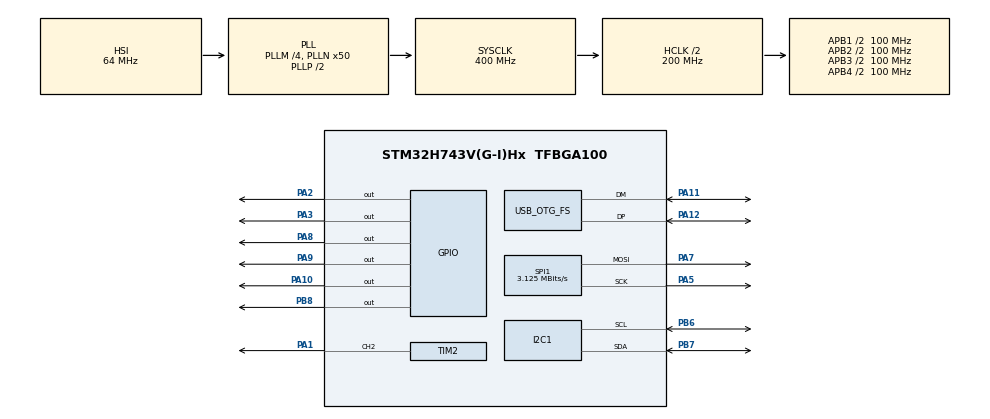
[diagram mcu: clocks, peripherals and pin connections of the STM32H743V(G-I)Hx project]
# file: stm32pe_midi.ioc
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CORTEX_M7.default_mode_Activation=1
I2C1.Timing=0x10C0ECFF
Mcu.Family=STM32H7
Mcu.Name=STM32H743V(G-I)Hx
Mcu.Package=TFBGA100
NVIC.OTG_FS_IRQn=true\:0\:0\:false\:false\:true\:true\:true\:true
NVIC.PriorityGroup=NVIC_PRIORITYGROUP_4
PA1.Signal=S_TIM2_CH2
PA10.Signal=GPIO_Output
PA11.Mode=Device_Only
PA11.Signal=USB_OTG_FS_DM
PA12.Mode=Device_Only
PA12.Signal=USB_OTG_FS_DP
PA2.Signal=GPIO_Output
PA3.Signal=GPIO_Output
PA5.Mode=TX_Only_Simplex_Unidirect_Master
PA5.Signal=SPI1_SCK
PA7.Mode=TX_Only_Simplex_Unidirect_Master
PA7.Signal=SPI1_MOSI
PA8.Signal=GPIO_Output
PA9.Signal=GPIO_Output
PB6.Mode=I2C
PB6.Signal=I2C1_SCL
PB7.Mode=I2C
PB7.Signal=I2C1_SDA
PB8.Signal=GPIO_Output
ProjectManager.HeapSize=0x200
ProjectManager.StackSize=0x400
ProjectManager.TargetToolchain=STM32CubeIDE
RCC.ADCFreq_Value=129000000
RCC.APB1Freq_Value=100000000
RCC.APB2Freq_Value=100000000
RCC.APB3Freq_Value=100000000
RCC.APB4Freq_Value=100000000
RCC.CortexFreq_Value=400000000
RCC.D1PPRE=RCC_APB3_DIV2
RCC.D2PPRE1=RCC_APB1_DIV2
RCC.D2PPRE2=RCC_APB2_DIV2
RCC.D3PPRE=RCC_APB4_DIV2
RCC.DIVM1=4
RCC.DIVN1=50
RCC.DIVQ1=4
RCC.HCLKFreq_Value=200000000
RCC.HPRE=RCC_HCLK_DIV2
RCC.PLL2FRACN=0
RCC.PLL3FRACN=0
RCC.PLLFRACN=0
RCC.SYSCLKFreq_VALUE=400000000
RCC.SYSCLKSource=RCC_SYSCLKSOURCE_PLLCLK
RCC.USBCLockSelection=RCC_USBCLKSOURCE_HSI48
RCC.USBFreq_Value=48000000
SH.S_TIM2_CH2.0=TIM2_CH2,PWM Generation2 CH2
SPI1.BaudRatePrescaler=SPI_BAUDRATEPRESCALER_64
SPI1.CalculateBaudRate=3.125 MBits/s
SPI1.DataSize=SPI_DATASIZE_8BIT
SPI1.Direction=SPI_DIRECTION_2LINES_TXONLY
SPI1.Mode=SPI_MODE_MASTER
SPI1.VirtualType=VM_MASTER
TIM2.Channel-PWM\ Generation2\ CH2=TIM_CHANNEL_2
TIM2.Period=31
TIM2.Pulse-PWM\ Generation2\ CH2=16
USB_OTG_FS.VirtualMode=Device_Only
VP_MEMORYMAP_VS_MEMORYMAP.Mode=CurAppReg
board=custom

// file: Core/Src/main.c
/* USER CODE BEGIN Header */
/**
 ******************************************************************************
 * @file           : main.c
 * @brief          : Main program body
 ******************************************************************************
 * @attention
 *
 * Copyright (c) 2025 STMicroelectronics.
 * All rights reserved.
 *
 * This software is licensed under terms that can be found in the LICENSE file
 * in the root directory of this software component.
 * If no LICENSE file comes with this software, it is provided AS-IS.
 *
 ******************************************************************************
 */
/* USER CODE END Header */
#include "main.h"

/* USER CODE BEGIN Includes */

//#include "usbd_def.h"
//#include "usbd_cdc_if.h"

#include <stdlib.h>
#include <stdbool.h>
#include <string.h>

#include "tlc5940.h"
#include "i2c-mux.h"
#include "TMAG5273.h"

#include "tusb.h"

#include "helper.h"
#include "mpe.h"

#define DEBUG4_LED_GPIO_Port GPIOA
#define DEBUG4_LED_Pin GPIO_PIN_8

#define DEBUG2_LED_GPIO_Port GPIOA
#define DEBUG2_LED_Pin GPIO_PIN_9

#define DEBUG3_LED_GPIO_Port GPIOA
#define DEBUG3_LED_Pin GPIO_PIN_10

// ==========================================================================================
// the config is below (not really recommended to edit these below unless if yk what you are doing)
// ==========================================================================================

//midi
int start_octave = 4; //midi code shift
int mt_send_black = 40; //midi on threshold
int mt_send_white = 30; //midi on threshold

//mpe
int16_t pitch_mpe_st = 682; //mpe semitone pitch range (682 = 4st, 341 = 2st)
float angle_mpe_padding = 15; //mpe pitch
float angle_mpe_realistic_max = 25; //mpe pitch

float aftertouch_mpe_white_padding = 9; //mpe aftertouch
float aftertouch_mpe_black_padding = 15; //mpe aftertouch

//octave
uint32_t octave_change_mode_time_threshold = 200; //diff change between mode/octive
uint32_t octave_led_flash = 500; //ms between led flash during mode

//led
int startup_cutoff_wait = 100; //led cutoff + cutoff for initial sensor readings saving

//mode
uint32_t octave_mode_hold_down = 1500; //octave mode keys milliseconds to hold down & change
uint32_t mpe_mode_hold_down = 3000; //~ same above but for mpe mode keys

//debug
bool disable_comport = false; //silences comport to possibly make processing faster?

// ==========================================================================================
// the config is above
// ==========================================================================================

//all data below is in order of b, c, c#, d, d#, e, etc..
//uint16_t light_key_arr[25];

bool key_activated[25]; //midi on/off
uint8_t key_note_active[25]; //midi on/off safety

float key_raw_initial[25]; //midi velocity
float key_raw_angle_initial[25]; //mpe pitch

float key_tick_start[25]; //midi velocity

float key_low_cutoff[25]; //leds

float key_off_cutoff[25]; //midi off

uint8_t midi_key_arr[25]; //midi codes

TMAG5273_Handle_t tmag_handles[25]; //tmag obj handles

uint8_t tmag_addr_arr[25] = { 0x10, 0x11, 0x12, 0x13, 0x14, 0x15, 0x16,
		0x17, 0x18, 0x19, 0x1A, 0x1B, 0x1C, 0x1D, 0x1E, 0x1F, 0x20, 0x21, 0x22,
		0x23,
		0x24, 0x25, 0x26, 0x27, 0x28 }; //tmag addresses

bool is_black_key[25] = { false, false, true, false, true, false, false, true,
		false, true, false, true, false, false, true, false, true, false, false,
		true, false, true, false, true, false };

uint32_t octave_held_time = -1; //octave mode change
uint32_t octave_mode_time_elapsed = 0; //octave led
uint32_t octave_mode_time2_elapsed = -1; //mode change safety

bool octave_change_mode = false; //mode on/off
bool prevent_rapid_fire = false; //can change octave

bool mpe_midi_mode = true; //mpe mode change
uint32_t mpe_held_time = -1; //time saving

/* USER CODE END Includes */

I2C_HandleTypeDef hi2c1;

SPI_HandleTypeDef hspi1;

TIM_HandleTypeDef htim2;

PCD_HandleTypeDef hpcd_USB_OTG_FS;

/* USER CODE BEGIN PV */

//TODO remove?

/* USER CODE END PV */

void SystemClock_Config(void);
static void MPU_Config(void);
static void MX_GPIO_Init(void);
static void MX_TIM2_Init(void);
static void MX_SPI1_Init(void);
static void MX_I2C1_Init(void);
static void MX_USB_OTG_FS_PCD_Init(void);

/* USER CODE BEGIN 0 */

i2c_mux_t tca_mux = { .hi2c = &hi2c1,     // Using I2C1 on PB6 (SCL) / PB7 (SDA)
		.rst_port = GPIOB,          // Reset pin is PB7
		.rst_pin = GPIO_PIN_8,      // Use correct GPIO pin number
		.addr_offset = 0            // 0 if all A0/A1/A2 pins are GND
		};

int _write(int file, char *ptr, int len) {
	(void) file;

	if (disable_comport) {
		return 0;
	}

	if (!tud_cdc_connected()) {
		return 0;
	}

	int remaining = len;
	uint32_t start = HAL_GetTick();
	while (remaining > 0) {
		uint32_t n = tud_cdc_write(ptr, remaining);
		tud_cdc_write_flush(); // send data to host
		ptr += n;
		remaining -= n;

		// Allow TinyUSB to process USB events
		tud_task();

		// Timeout after 100ms to avoid deadlock
		if ((HAL_GetTick() - start) > 100) {
			break;
		}
	}

	return len;
}

/* USER CODE END 0 */

int main(void)
{

  /* MPU Configuration--------------------------------------------------------*/
  MPU_Config();

  /* MCU Configuration--------------------------------------------------------*/

  /* Reset of all peripherals, Initializes the Flash interface and the Systick. */
  HAL_Init();

  /* Configure the system clock */
  SystemClock_Config();

  /* Initialize all configured peripherals */
  MX_GPIO_Init();
  MX_TIM2_Init();
  MX_SPI1_Init();
  MX_I2C1_Init();
  MX_USB_OTG_FS_PCD_Init();
  /* USER CODE BEGIN 2 */

	// start the timer for the led mux
	HAL_TIM_PWM_Start(&htim2, TIM_CHANNEL_2);

	// set mp-reset on the i2c mux to be high as it is active-low reset input
	HAL_GPIO_WritePin(GPIOB, GPIO_PIN_8, GPIO_PIN_SET);

	// disable all i2c channels for a clean slate bruh
	if (i2c_mux_reset(&tca_mux) != 0) {
		// Handle error, e.g., blink LED or halt
		HAL_GPIO_WritePin(DEBUG2_LED_GPIO_Port, DEBUG2_LED_Pin, GPIO_PIN_SET);
	}

	//on each channel, there are four i2c sensors connected with unique addresses in that channel only
	//the address has to be rewritten for all the sensors to then combine all channels pull data easier

	//sc0
	i2c_mux_select(&tca_mux, 0);

	tmag_handles[0] = TMAG5273_CreateHandle(&hi2c1, 0x35);
	TMAG5273_Init(&tmag_handles[0]);
	TMAG5273_RewriteI2CAddress(&tmag_handles[0], tmag_addr_arr[0]);

	tmag_handles[1] = TMAG5273_CreateHandle(&hi2c1, 0x22);
	TMAG5273_Init(&tmag_handles[1]);
	TMAG5273_RewriteI2CAddress(&tmag_handles[1], tmag_addr_arr[1]);

	tmag_handles[3] = TMAG5273_CreateHandle(&hi2c1, 0x78);
	TMAG5273_Init(&tmag_handles[3]);
	TMAG5273_RewriteI2CAddress(&tmag_handles[3], tmag_addr_arr[3]);

	tmag_handles[5] = TMAG5273_CreateHandle(&hi2c1, 0x44);
	TMAG5273_Init(&tmag_handles[5]);
	TMAG5273_RewriteI2CAddress(&tmag_handles[5], tmag_addr_arr[5]);

	//sc1
	i2c_mux_select(&tca_mux, 1);

	tmag_handles[6] = TMAG5273_CreateHandle(&hi2c1, 0x35);
	TMAG5273_Init(&tmag_handles[6]);
	TMAG5273_RewriteI2CAddress(&tmag_handles[6], tmag_addr_arr[6]);

	tmag_handles[8] = TMAG5273_CreateHandle(&hi2c1, 0x22);
	TMAG5273_Init(&tmag_handles[8]);
	TMAG5273_RewriteI2CAddress(&tmag_handles[8], tmag_addr_arr[8]);

	tmag_handles[10] = TMAG5273_CreateHandle(&hi2c1, 0x78);
	TMAG5273_Init(&tmag_handles[10]);
	TMAG5273_RewriteI2CAddress(&tmag_handles[10], tmag_addr_arr[10]);

	tmag_handles[12] = TMAG5273_CreateHandle(&hi2c1, 0x44);
	TMAG5273_Init(&tmag_handles[12]);
	TMAG5273_RewriteI2CAddress(&tmag_handles[12], tmag_addr_arr[12]);

	//sc2
	i2c_mux_select(&tca_mux, 2);

	tmag_handles[13] = TMAG5273_CreateHandle(&hi2c1, 0x35);
	TMAG5273_Init(&tmag_handles[13]);
	TMAG5273_RewriteI2CAddress(&tmag_handles[13], tmag_addr_arr[13]);

	tmag_handles[15] = TMAG5273_CreateHandle(&hi2c1, 0x22);
	TMAG5273_Init(&tmag_handles[15]);
	TMAG5273_RewriteI2CAddress(&tmag_handles[15], tmag_addr_arr[15]);

	tmag_handles[17] = TMAG5273_CreateHandle(&hi2c1, 0x78);
	TMAG5273_Init(&tmag_handles[17]);
	TMAG5273_RewriteI2CAddress(&tmag_handles[17], tmag_addr_arr[17]);

	tmag_handles[18] = TMAG5273_CreateHandle(&hi2c1, 0x44);
	TMAG5273_Init(&tmag_handles[18]);
	TMAG5273_RewriteI2CAddress(&tmag_handles[18], tmag_addr_arr[18]);

	//sc3
	i2c_mux_select(&tca_mux, 3);

	tmag_handles[20] = TMAG5273_CreateHandle(&hi2c1, 0x35);
	TMAG5273_Init(&tmag_handles[20]);
	TMAG5273_RewriteI2CAddress(&tmag_handles[20], tmag_addr_arr[20]);

	tmag_handles[22] = TMAG5273_CreateHandle(&hi2c1, 0x22);
	TMAG5273_Init(&tmag_handles[22]);
	TMAG5273_RewriteI2CAddress(&tmag_handles[22], tmag_addr_arr[22]);

	tmag_handles[24] = TMAG5273_CreateHandle(&hi2c1, 0x78);
	TMAG5273_Init(&tmag_handles[24]);
	TMAG5273_RewriteI2CAddress(&tmag_handles[24], tmag_addr_arr[24]);

	tmag_handles[2] = TMAG5273_CreateHandle(&hi2c1, 0x44);
	TMAG5273_Init(&tmag_handles[2]);
	TMAG5273_RewriteI2CAddress(&tmag_handles[2], tmag_addr_arr[2]);

	//sc4
	i2c_mux_select(&tca_mux, 4);

	tmag_handles[4] = TMAG5273_CreateHandle(&hi2c1, 0x35);
	TMAG5273_Init(&tmag_handles[4]);
	TMAG5273_RewriteI2CAddress(&tmag_handles[4], tmag_addr_arr[4]);

	tmag_handles[7] = TMAG5273_CreateHandle(&hi2c1, 0x22);
	TMAG5273_Init(&tmag_handles[7]);
	TMAG5273_RewriteI2CAddress(&tmag_handles[7], tmag_addr_arr[7]);

	tmag_handles[9] = TMAG5273_CreateHandle(&hi2c1, 0x78);
	TMAG5273_Init(&tmag_handles[9]);
	TMAG5273_RewriteI2CAddress(&tmag_handles[9], tmag_addr_arr[9]);

	tmag_handles[11] = TMAG5273_CreateHandle(&hi2c1, 0x44);
	TMAG5273_Init(&tmag_handles[11]);
	TMAG5273_RewriteI2CAddress(&tmag_handles[11], tmag_addr_arr[11]);

	//sc5
	i2c_mux_select(&tca_mux, 5);

	tmag_handles[14] = TMAG5273_CreateHandle(&hi2c1, 0x35);
	TMAG5273_Init(&tmag_handles[14]);
	TMAG5273_RewriteI2CAddress(&tmag_handles[14], tmag_addr_arr[14]);

	tmag_handles[16] = TMAG5273_CreateHandle(&hi2c1, 0x22);
	TMAG5273_Init(&tmag_handles[16]);
	TMAG5273_RewriteI2CAddress(&tmag_handles[16], tmag_addr_arr[16]);

	tmag_handles[19] = TMAG5273_CreateHandle(&hi2c1, 0x78);
	TMAG5273_Init(&tmag_handles[19]);
	TMAG5273_RewriteI2CAddress(&tmag_handles[19], tmag_addr_arr[19]);

	tmag_handles[21] = TMAG5273_CreateHandle(&hi2c1, 0x44);
	TMAG5273_Init(&tmag_handles[21]);
	TMAG5273_RewriteI2CAddress(&tmag_handles[21], tmag_addr_arr[21]);

	//sc6
	i2c_mux_select(&tca_mux, 6);

	tmag_handles[23] = TMAG5273_CreateHandle(&hi2c1, 0x35);
	TMAG5273_Init(&tmag_handles[23]);
	TMAG5273_RewriteI2CAddress(&tmag_handles[23], tmag_addr_arr[23]);

	// enable sc0–sc6, disable sc7
	i2c_mux_select_multi(&tca_mux, 0x7F);

	// fill midi array
	fill_midi_key_arr(midi_key_arr, 25, start_octave);

	// init high/low cutoffs & other stuff
	for (int i = 0; i < 25; i++) {
		key_low_cutoff[i] = -1.0f;
		key_tick_start[i] = 0;
		key_raw_angle_initial[i] = -1;
	}

	// for if the user changed the default midi mpe mode
	if (mpe_midi_mode) {
		HAL_GPIO_WritePin(DEBUG3_LED_GPIO_Port, DEBUG3_LED_Pin, GPIO_PIN_RESET);
	} else {
		HAL_GPIO_WritePin(DEBUG3_LED_GPIO_Port, DEBUG3_LED_Pin, GPIO_PIN_SET);
	}

	// init device stack for tiny usb!!!
	tusb_init(BOARD_DEVICE_RHPORT_NUM, NULL);

  /* USER CODE END 2 */

  /* Infinite loop */
  while (1)
  {

    /* USER CODE BEGIN 3 */

		tud_task();

		//dont allow cutoffs to be set until a solid line of sensor values are being read good
		static uint32_t startup_tick = 0;
		if (startup_tick == 0) {
			startup_tick = HAL_GetTick();
		}
		uint8_t allow_cutoff_set = (HAL_GetTick() - startup_tick
				> startup_cutoff_wait);
		// ^ this time is how long the user can not touch the keys after being plugged in

		//for each 25 keys
		for (int d = 0; d < 25; d++) {

			// read address register to see if address is actually rewritten
			//TODO remove in next code cleanup
			uint8_t addr_reg = 0;
			if (TMAG5273_ReadRegister(&tmag_handles[d], 0x0C, 1, &addr_reg)
					== 0) {
				//printf("I2C address register: 0x%02X\r\n", addr_reg);
			} else {
				printf(
						"Sensor Index = %d, Failed to read i2c register data\r\n",
						d);
			};

			// reading rotation from sensor
			TMAG5273_Axis_t mag;
			TMAG5273_Angle_t angle;
			uint8_t ret = -1;

			// reading sensor magnet pos. to output led/etc.
			ret = TMAG5273_ReadMagneticField(&tmag_handles[d], &mag);
			if (ret == 0) {
				//printf("Bx = %.3f mT, By = %.3f mT, Bz = %.3f mT\r\n", mag.Bx, mag.By, mag.Bz);
				//printf("Return value: %u\r\n", ret);

				uint16_t bz_u16 = 0;

				//use the key_low_cutoff nan to set an initial cutoff for later calculations
				if (key_low_cutoff[d] < 0 && allow_cutoff_set) {
					if (mag.Bz > 9) {
						key_low_cutoff[d] = mag.Bz - 9;
					} else {
						key_low_cutoff[d] = 0;
					}

					key_off_cutoff[d] = mag.Bz + 5; //add a padding of 5

					key_raw_initial[d] = mag.Bz;

					//key_raw_angle_initial[d] = angle.angle -- moved to key on for reasons explained
				} else {
					//normalize mag.Bz around ~9
					bz_u16 = map_float_to_int16(mag.Bz - key_low_cutoff[d],
							10.0f, 80.0f, 0, 3000);
				}

				TLC5940_SetMappedByKeyLED(d, bz_u16);
				TLC5940_Update();
			} else {
				printf(
						"I2C Address = 0x%02X, Sensor Index = %d, ReadMagneticField failed code = %d\r\n",
						addr_reg, d, ret);
			}

			ret = TMAG5273_ReadAngle(&tmag_handles[d], &angle);
			if (ret == 0) {
				//printf("Angle: %.2f deg, Magnitude: %.2f\r\n", angle.angle, angle.magnitude);
			} else {
				printf("Sensor Index = %d, Failed angle read, code: %d\r\n", d,
						ret);
			}

			//mpe midi mode change
			if (key_activated[1] && key_activated[22]) {
				if (mpe_held_time == -1) {
					//set the first time
					mpe_held_time = HAL_GetTick();
				} else if ((HAL_GetTick() - mpe_held_time) > mpe_mode_hold_down
						&& mpe_held_time != -1) {
					//count down the time until its more than 3 seconds held
					mpe_midi_mode = !mpe_midi_mode;

					if (mpe_midi_mode) {
						HAL_GPIO_WritePin(DEBUG3_LED_GPIO_Port, DEBUG3_LED_Pin,
								GPIO_PIN_RESET);
					} else {
						HAL_GPIO_WritePin(DEBUG3_LED_GPIO_Port, DEBUG3_LED_Pin,
								GPIO_PIN_SET);
					}

					//prevent rapid fire of changing modes
					mpe_held_time = -1;
				}
			} else if (!key_activated[1] && !key_activated[22]) {
				//reset time if both keys are unactivated
				mpe_held_time = -1;
			}

			//octave change
			if (key_activated[0] && key_activated[24]) {
				if (octave_held_time == -1) {
					//set the first time
					octave_held_time = HAL_GetTick();
				} else if ((HAL_GetTick() - octave_held_time)
						> octave_mode_hold_down
						&& octave_held_time != -1) {
					//count down the time until its more than 3 seconds held
					octave_change_mode = !octave_change_mode;

					if (octave_change_mode) {
						octave_mode_time_elapsed = HAL_GetTick();
					} else {
						HAL_GPIO_WritePin(DEBUG4_LED_GPIO_Port, DEBUG4_LED_Pin,
								GPIO_PIN_RESET);
					}

					//prevent rapid fire of changing modes
					octave_held_time = -1;
				}
			} else if (!key_activated[0] && !key_activated[24]) {
				//reset time if both keys are unactivated
				octave_held_time = -1;
			}

			//turn status led on to indicate octave change mode
			if (octave_change_mode
					&& (HAL_GetTick() - octave_mode_time_elapsed)
							> octave_led_flash) {
				HAL_GPIO_TogglePin(DEBUG4_LED_GPIO_Port, DEBUG4_LED_Pin);
				octave_mode_time_elapsed = HAL_GetTick();
			}

			//octave down
			if (d == 0 && mag.Bz > mt_send_white && start_octave >= 0
					&& !prevent_rapid_fire && octave_change_mode) {
				if (octave_mode_time2_elapsed == -1) {
					octave_mode_time2_elapsed = HAL_GetTick();
				} else if (key_activated[0] && key_activated[24]) {
					//catch if user is trying to exit octave mode instead of changing it
					octave_mode_time2_elapsed = -1;

				} else if ((HAL_GetTick() - octave_mode_time2_elapsed)
						> octave_change_mode_time_threshold) {
					start_octave--;
					fill_midi_key_arr(midi_key_arr, 25, start_octave);
					prevent_rapid_fire = true;
					octave_mode_time2_elapsed = -1;
				}
			}

			//octave up
			if (d == 24 && mag.Bz > mt_send_white && start_octave <= 9
					&& !prevent_rapid_fire && octave_change_mode) {
				if (octave_mode_time2_elapsed == -1) {
					octave_mode_time2_elapsed = HAL_GetTick();
				} else if (key_activated[0] && key_activated[24]) {
					//catch if user is trying to exit octave mode instead of changing it
					octave_mode_time2_elapsed = -1;

				} else if ((HAL_GetTick() - octave_mode_time2_elapsed)
						> octave_change_mode_time_threshold) {
					start_octave++;
					fill_midi_key_arr(midi_key_arr, 25, start_octave);
					prevent_rapid_fire = true;
					octave_mode_time2_elapsed = -1;
				}
			}

			//TODO remove next code cleanup
			//printf("Bz = %.3f mT, Angle: %.2f deg, Change: %.2f, Max: %.2f\r\n", mag.Bz, angle.angle, current_change, key_dist_max[d]);

			//start time for measuring velocity
			if (mag.Bz > key_raw_initial[d] + 1.5 && key_tick_start[d] == 0) {
				key_tick_start[d] = HAL_GetTick();
			} else if (mag.Bz < key_raw_initial[d] + 0.8
					&& key_tick_start[d] != 0) {
				//safety measure to stop measuring tick start as user has started measurement but did not trigger a key press
				key_tick_start[d] = 0;
			}

			//use a specific mt send as the black keys have a shorter distance compared to white keys
			int mt_send = is_black_key[d] ? mt_send_black : mt_send_white;

			//turn on key
			if (mag.Bz > mt_send && !key_activated[d]) {
				uint8_t measured_velocity = map_velocity_log(
						HAL_GetTick() - key_tick_start[d]);

				if (mpe_midi_mode) {
					MPE_Send_Note_On(midi_key_arr[d], measured_velocity);
				} else {
					uint8_t note_on[3] = { 0x90 | 0, midi_key_arr[d],
							measured_velocity };

					tud_midi_stream_write(0, note_on, 3);
				}

				printf(
						"%d, midi = on, code = %d, velocity = %d\r\n", d,
						midi_key_arr[d], measured_velocity);

				key_activated[d] = true;
				key_note_active[d] = midi_key_arr[d];

				//also set the raw initial angle here...
				//some downsides of this is that the user has to press the key perfectly/mostly flat at startup or else the pitch will be offset
				//though, this does solve the issue of the sensor changing the angle when the key is normally actuated for some reason
				if (key_raw_angle_initial[d] == -1) {
					key_raw_angle_initial[d] = angle.angle;
					printf("%d, raw angle init = %0.2f\r\n", d,
							key_raw_angle_initial[d]);
				}
			}

			//turn off key
			if (mag.Bz < key_off_cutoff[d] && key_activated[d]) {
				if (mpe_midi_mode) {
					MPE_Send_Note_Off(key_note_active[d]);
				} else {
					uint8_t note_off[3] = { 0x80 | 0, key_note_active[d], 0 };

					tud_midi_stream_write(0, note_off, 3);
				}

				printf("%d, midi = off, code = %d\r\n", d, key_note_active[d]);

				key_activated[d] = false;
				key_note_active[d] = 0;

				//reset velocity measurement
				key_tick_start[d] = 0;

				prevent_rapid_fire = false;
			}

			//pitch change per key
			if (key_activated[d] && mpe_midi_mode) {
				// black key bias - 40max, 44, 91-94-100mid, 134, 150max
				// white key bias - 20max, 30, 82-84-86mid, 130, 140max
				// +-20 from origin angle, +-5/3 as rest from origin angle
				int16_t shift = 0;

				if (angle.angle
						> (key_raw_angle_initial[d] + angle_mpe_padding)) { //up
					//min - the min includes the key's resting angle and the padding before pitch change gets triggered
					//max - includes the above + the realistic max angle/roll for each key
					shift = map_float_to_int16(angle.angle,
							(key_raw_angle_initial[d] + angle_mpe_padding),
							(key_raw_angle_initial[d] + angle_mpe_padding
									+ angle_mpe_realistic_max), 0,
							pitch_mpe_st);
				} else if (angle.angle
						< (key_raw_angle_initial[d] - angle_mpe_padding)) { //down
					//same min/max for pitching up, but negative
					shift = map_float_to_int16(angle.angle,
							(key_raw_angle_initial[d] - angle_mpe_padding
									- angle_mpe_realistic_max),
							(key_raw_angle_initial[d] - angle_mpe_padding),
							-pitch_mpe_st, 0);
				}

				MPE_Send_Pitch_Bend(midi_key_arr[d], shift);
			}

			int aftertouch_mpe_padding =
					is_black_key[d] ?
							aftertouch_mpe_black_padding :
							aftertouch_mpe_white_padding;

			//aftertouch per key
			if (mag.Bz > (mt_send + aftertouch_mpe_padding)
					&& key_activated[d]
					&& mpe_midi_mode) {
				uint8_t pressure = 0;

				pressure = map_float_to_uint8(mag.Bz,
						(mt_send + aftertouch_mpe_padding), 78, 0, 127);

				MPE_Send_Aftertouch(midi_key_arr[d], pressure);
			}
		}

  }
  /* USER CODE END 3 */
}

void SystemClock_Config(void)
{
  RCC_OscInitTypeDef RCC_OscInitStruct = {0};
  RCC_ClkInitTypeDef RCC_ClkInitStruct = {0};

  /** Supply configuration update enable
  */
  HAL_PWREx_ConfigSupply(PWR_LDO_SUPPLY);

  /** Configure the main internal regulator output voltage
  */
  __HAL_PWR_VOLTAGESCALING_CONFIG(PWR_REGULATOR_VOLTAGE_SCALE1);

  while(!__HAL_PWR_GET_FLAG(PWR_FLAG_VOSRDY)) {}

  /** Initializes the RCC Oscillators according to the specified parameters
  * in the RCC_OscInitTypeDef structure.
  */
  RCC_OscInitStruct.OscillatorType = RCC_OSCILLATORTYPE_HSI48|RCC_OSCILLATORTYPE_HSI;
  RCC_OscInitStruct.HSIState = RCC_HSI_DIV1;
  RCC_OscInitStruct.HSICalibrationValue = RCC_HSICALIBRATION_DEFAULT;
  RCC_OscInitStruct.HSI48State = RCC_HSI48_ON;
  RCC_OscInitStruct.PLL.PLLState = RCC_PLL_ON;
  RCC_OscInitStruct.PLL.PLLSource = RCC_PLLSOURCE_HSI;
  RCC_OscInitStruct.PLL.PLLM = 4;
  RCC_OscInitStruct.PLL.PLLN = 50;
  RCC_OscInitStruct.PLL.PLLP = 2;
  RCC_OscInitStruct.PLL.PLLQ = 4;
  RCC_OscInitStruct.PLL.PLLR = 2;
  RCC_OscInitStruct.PLL.PLLRGE = RCC_PLL1VCIRANGE_3;
  RCC_OscInitStruct.PLL.PLLVCOSEL = RCC_PLL1VCOWIDE;
  RCC_OscInitStruct.PLL.PLLFRACN = 0;
  if (HAL_RCC_OscConfig(&RCC_OscInitStruct) != HAL_OK)
  {
    Error_Handler();
  }

  /** Initializes the CPU, AHB and APB buses clocks
  */
  RCC_ClkInitStruct.ClockType = RCC_CLOCKTYPE_HCLK|RCC_CLOCKTYPE_SYSCLK
                              |RCC_CLOCKTYPE_PCLK1|RCC_CLOCKTYPE_PCLK2
                              |RCC_CLOCKTYPE_D3PCLK1|RCC_CLOCKTYPE_D1PCLK1;
  RCC_ClkInitStruct.SYSCLKSource = RCC_SYSCLKSOURCE_PLLCLK;
  RCC_ClkInitStruct.SYSCLKDivider = RCC_SYSCLK_DIV1;
  RCC_ClkInitStruct.AHBCLKDivider = RCC_HCLK_DIV2;
  RCC_ClkInitStruct.APB3CLKDivider = RCC_APB3_DIV2;
  RCC_ClkInitStruct.APB1CLKDivider = RCC_APB1_DIV2;
  RCC_ClkInitStruct.APB2CLKDivider = RCC_APB2_DIV2;
  RCC_ClkInitStruct.APB4CLKDivider = RCC_APB4_DIV2;

  if (HAL_RCC_ClockConfig(&RCC_ClkInitStruct, FLASH_LATENCY_2) != HAL_OK)
  {
    Error_Handler();
  }
}

static void MX_I2C1_Init(void)
{

  hi2c1.Instance = I2C1;
  hi2c1.Init.Timing = 0x10C0ECFF;
  hi2c1.Init.OwnAddress1 = 0;
  hi2c1.Init.AddressingMode = I2C_ADDRESSINGMODE_7BIT;
  hi2c1.Init.DualAddressMode = I2C_DUALADDRESS_DISABLE;
  hi2c1.Init.OwnAddress2 = 0;
  hi2c1.Init.OwnAddress2Masks = I2C_OA2_NOMASK;
  hi2c1.Init.GeneralCallMode = I2C_GENERALCALL_DISABLE;
  hi2c1.Init.NoStretchMode = I2C_NOSTRETCH_DISABLE;
  if (HAL_I2C_Init(&hi2c1) != HAL_OK)
  {
    Error_Handler();
  }

  /** Configure Analogue filter
  */
  if (HAL_I2CEx_ConfigAnalogFilter(&hi2c1, I2C_ANALOGFILTER_ENABLE) != HAL_OK)
  {
    Error_Handler();
  }

  /** Configure Digital filter
  */
  if (HAL_I2CEx_ConfigDigitalFilter(&hi2c1, 0) != HAL_OK)
  {
    Error_Handler();
  }

}

static void MX_SPI1_Init(void)
{

  /* SPI1 parameter configuration*/
  hspi1.Instance = SPI1;
  hspi1.Init.Mode = SPI_MODE_MASTER;
  hspi1.Init.Direction = SPI_DIRECTION_2LINES_TXONLY;
  hspi1.Init.DataSize = SPI_DATASIZE_8BIT;
  hspi1.Init.CLKPolarity = SPI_POLARITY_LOW;
  hspi1.Init.CLKPhase = SPI_PHASE_1EDGE;
  hspi1.Init.NSS = SPI_NSS_SOFT;
  hspi1.Init.BaudRatePrescaler = SPI_BAUDRATEPRESCALER_64;
  hspi1.Init.FirstBit = SPI_FIRSTBIT_MSB;
  hspi1.Init.TIMode = SPI_TIMODE_DISABLE;
  hspi1.Init.CRCCalculation = SPI_CRCCALCULATION_DISABLE;
  hspi1.Init.CRCPolynomial = 0x0;
  hspi1.Init.NSSPMode = SPI_NSS_PULSE_ENABLE;
  hspi1.Init.NSSPolarity = SPI_NSS_POLARITY_LOW;
  hspi1.Init.FifoThreshold = SPI_FIFO_THRESHOLD_01DATA;
  hspi1.Init.TxCRCInitializationPattern = SPI_CRC_INITIALIZATION_ALL_ZERO_PATTERN;
  hspi1.Init.RxCRCInitializationPattern = SPI_CRC_INITIALIZATION_ALL_ZERO_PATTERN;
  hspi1.Init.MasterSSIdleness = SPI_MASTER_SS_IDLENESS_00CYCLE;
  hspi1.Init.MasterInterDataIdleness = SPI_MASTER_INTERDATA_IDLENESS_00CYCLE;
  hspi1.Init.MasterReceiverAutoSusp = SPI_MASTER_RX_AUTOSUSP_DISABLE;
  hspi1.Init.MasterKeepIOState = SPI_MASTER_KEEP_IO_STATE_DISABLE;
  hspi1.Init.IOSwap = SPI_IO_SWAP_DISABLE;
  if (HAL_SPI_Init(&hspi1) != HAL_OK)
  {
    Error_Handler();
  }

}

static void MX_TIM2_Init(void)
{

  TIM_MasterConfigTypeDef sMasterConfig = {0};
  TIM_OC_InitTypeDef sConfigOC = {0};

  htim2.Instance = TIM2;
  htim2.Init.Prescaler = 0;
  htim2.Init.CounterMode = TIM_COUNTERMODE_UP;
  htim2.Init.Period = 31;
  htim2.Init.ClockDivision = TIM_CLOCKDIVISION_DIV1;
  htim2.Init.AutoReloadPreload = TIM_AUTORELOAD_PRELOAD_DISABLE;
  if (HAL_TIM_PWM_Init(&htim2) != HAL_OK)
  {
    Error_Handler();
  }
  sMasterConfig.MasterOutputTrigger = TIM_TRGO_RESET;
  sMasterConfig.MasterSlaveMode = TIM_MASTERSLAVEMODE_DISABLE;
  if (HAL_TIMEx_MasterConfigSynchronization(&htim2, &sMasterConfig) != HAL_OK)
  {
    Error_Handler();
  }
  sConfigOC.OCMode = TIM_OCMODE_PWM1;
  sConfigOC.Pulse = 16;
  sConfigOC.OCPolarity = TIM_OCPOLARITY_HIGH;
  sConfigOC.OCFastMode = TIM_OCFAST_DISABLE;
  if (HAL_TIM_PWM_ConfigChannel(&htim2, &sConfigOC, TIM_CHANNEL_2) != HAL_OK)
  {
    Error_Handler();
  }
  HAL_TIM_MspPostInit(&htim2);

}

static void MX_USB_OTG_FS_PCD_Init(void)
{

  hpcd_USB_OTG_FS.Instance = USB_OTG_FS;
  hpcd_USB_OTG_FS.Init.dev_endpoints = 9;
  hpcd_USB_OTG_FS.Init.speed = PCD_SPEED_FULL;
  hpcd_USB_OTG_FS.Init.dma_enable = DISABLE;
  hpcd_USB_OTG_FS.Init.phy_itface = PCD_PHY_EMBEDDED;
  hpcd_USB_OTG_FS.Init.Sof_enable = DISABLE;
  hpcd_USB_OTG_FS.Init.low_power_enable = DISABLE;
  hpcd_USB_OTG_FS.Init.lpm_enable = DISABLE;
  hpcd_USB_OTG_FS.Init.battery_charging_enable = DISABLE;
  hpcd_USB_OTG_FS.Init.vbus_sensing_enable = DISABLE;
  hpcd_USB_OTG_FS.Init.use_dedicated_ep1 = DISABLE;
  if (HAL_PCD_Init(&hpcd_USB_OTG_FS) != HAL_OK)
  {
    Error_Handler();
  }

}

static void MX_GPIO_Init(void)
{
  GPIO_InitTypeDef GPIO_InitStruct = {0};

  /* GPIO Ports Clock Enable */
  __HAL_RCC_GPIOB_CLK_ENABLE();
  __HAL_RCC_GPIOA_CLK_ENABLE();

  /*Configure GPIO pin Output Level */
  HAL_GPIO_WritePin(GPIOB, GPIO_PIN_8, GPIO_PIN_RESET);

  /*Configure GPIO pin Output Level */
  HAL_GPIO_WritePin(GPIOA, GPIO_PIN_9|GPIO_PIN_8|GPIO_PIN_10|GPIO_PIN_2
                          |GPIO_PIN_3, GPIO_PIN_RESET);

  /*Configure GPIO pin : PB8 */
  GPIO_InitStruct.Pin = GPIO_PIN_8;
  GPIO_InitStruct.Mode = GPIO_MODE_OUTPUT_PP;
  GPIO_InitStruct.Pull = GPIO_NOPULL;
  GPIO_InitStruct.Speed = GPIO_SPEED_FREQ_LOW;
  HAL_GPIO_Init(GPIOB, &GPIO_InitStruct);

  /*Configure GPIO pins : PA9 PA8 PA10 PA2
                           PA3 */
  GPIO_InitStruct.Pin = GPIO_PIN_9|GPIO_PIN_8|GPIO_PIN_10|GPIO_PIN_2
                          |GPIO_PIN_3;
  GPIO_InitStruct.Mode = GPIO_MODE_OUTPUT_PP;
  GPIO_InitStruct.Pull = GPIO_NOPULL;
  GPIO_InitStruct.Speed = GPIO_SPEED_FREQ_LOW;
  HAL_GPIO_Init(GPIOA, &GPIO_InitStruct);

}

 /* MPU Configuration */

void MPU_Config(void)
{
  MPU_Region_InitTypeDef MPU_InitStruct = {0};

  /* Disables the MPU */
  HAL_MPU_Disable();

  /** Initializes and configures the Region and the memory to be protected
  */
  MPU_InitStruct.Enable = MPU_REGION_ENABLE;
  MPU_InitStruct.Number = MPU_REGION_NUMBER0;
  MPU_InitStruct.BaseAddress = 0x0;
  MPU_InitStruct.Size = MPU_REGION_SIZE_4GB;
  MPU_InitStruct.SubRegionDisable = 0x87;
  MPU_InitStruct.TypeExtField = MPU_TEX_LEVEL0;
  MPU_InitStruct.AccessPermission = MPU_REGION_NO_ACCESS;
  MPU_InitStruct.DisableExec = MPU_INSTRUCTION_ACCESS_DISABLE;
  MPU_InitStruct.IsShareable = MPU_ACCESS_SHAREABLE;
  MPU_InitStruct.IsCacheable = MPU_ACCESS_NOT_CACHEABLE;
  MPU_InitStruct.IsBufferable = MPU_ACCESS_NOT_BUFFERABLE;

  HAL_MPU_ConfigRegion(&MPU_InitStruct);
  /* Enables the MPU */
  HAL_MPU_Enable(MPU_PRIVILEGED_DEFAULT);

}

void Error_Handler(void)
{
	__disable_irq();
	while (1) {
	}
}
